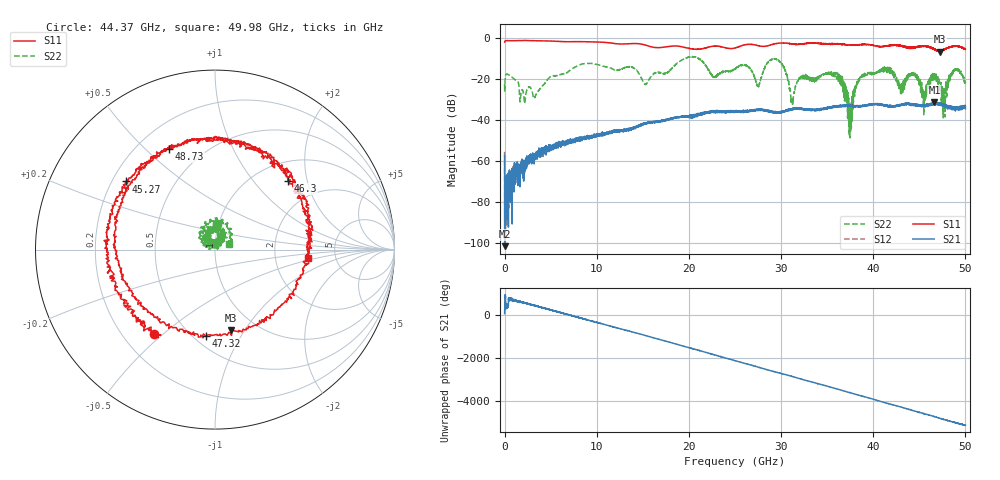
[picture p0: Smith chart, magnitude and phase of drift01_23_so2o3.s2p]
!Created with skrf (http://scikit-rf.org).
# Hz S RI R 50.0
!freq ReS11 ImS11 ReS21 ImS21 ReS12 ImS12 ReS22 ImS22
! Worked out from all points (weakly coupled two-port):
!   10001 points, 300 kHz to 50 GHz, reference 50 ohm
!   highest |S21| = -31.42 dB at 46.64 GHz (marker M1); lowest = -101.3 dB at 10.3 MHz (marker M2)
!   lowest |S11| = -6.8 dB at 47.21 GHz (marker M3), VSWR 2.70, Z = 38.3 - j43.7 ohm
!   |S11| at or under -10 dB: nowhere
!   |S22| runs from -48.7 to -9.2 dB; largest |S21 - S12| = 0.0041
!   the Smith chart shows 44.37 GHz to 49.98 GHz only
!   S11 on the Smith chart (normalised r, x): 44.37 GHz: 0.33, -0.47; 45.27 GHz: 0.25, +0.32; 46.3 GHz: 1.39, +1.54; 47.32 GHz: 0.58, -0.72; 48.73 GHz: 0.33, +0.59; 49.98 GHz: 3.11, -0.38
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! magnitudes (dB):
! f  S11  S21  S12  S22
! 300 kHz  -2.1  -57.5  -55.5  -22.5
! 10.3 MHz  -2.1  -101.3  -79.5  -25.6
! 3.29 GHz  -1.5  -59.3  -59.0  -28.9
! 8.335 GHz  -1.9  -49.3  -49.0  -12.9
! 16.67 GHz  -4.8  -40.8  -40.7  -16.7
! 25 GHz  -5.0  -35.9  -36.1  -15.3
! 29.59 GHz  -2.8  -36.3  -36.3  -10.7
! 31.23 GHz  -3.1  -34.8  -34.7  -31.0
! 33.34 GHz  -2.6  -35.1  -35.0  -20.1
! 36.08 GHz  -3.0  -33.2  -33.5  -18.5
! 37.49 GHz  -3.6  -33.2  -33.2  -32.9
! 38.64 GHz  -3.4  -33.1  -33.4  -19.9
! 41.67 GHz  -3.9  -33.3  -33.4  -15.6
! 44.37 GHz  -4.7  -33.0  -32.6  -16.9
! 45.27 GHz  -4.1  -33.3  -33.3  -25.3
! 46.3 GHz  -5.0  -32.7  -32.4  -18.7
! 46.64 GHz  -5.7  -31.4  -32.4  -18.0
! 47.21 GHz  -6.8  -32.2  -32.3  -24.8
! 47.32 GHz  -6.4  -32.1  -32.6  -22.0
! 48.73 GHz  -4.2  -34.6  -34.7  -16.1
! 49.98 GHz  -5.7  -33.2  -33.5  -21.7
! 50 GHz  -5.5  -34.5  -33.7  -21.4
